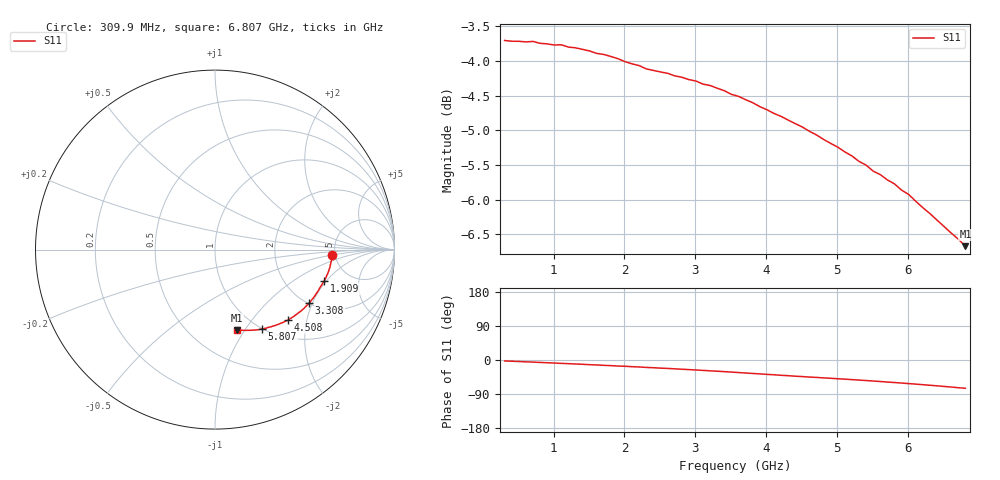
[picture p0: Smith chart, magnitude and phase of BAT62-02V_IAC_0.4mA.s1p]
! Infineon Technologies  Discrete & RF Semiconductors
! BAT62-02V
! IAC = 0.4 mA
! One-Port S-Parameters
# Hz  S  MA  R  50
!f  S11
!Hz  Mag  Ang
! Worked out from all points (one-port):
!   66 points, 309.9 MHz to 6.807 GHz, reference 50 ohm
!   lowest |S11| = -6.7 dB at 6.807 GHz (marker M1), VSWR 2.73, Z = 40.5 - j46.2 ohm
!   |S11| at or under -10 dB: nowhere
!   S11 on the Smith chart (normalised r, x): 309.9 MHz: 4.71, -0.46; 1.909 GHz: 3.26, -1.90; 3.308 GHz: 2.02, -1.89; 4.508 GHz: 1.35, -1.56; 5.807 GHz: 0.99, -1.19; 6.807 GHz: 0.81, -0.92
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3.0985e8  0.6528 -2.5
7.0965e8  0.6517 -5.5
1.10945e9  0.6481 -8.9
1.2094e9  0.6457 -9.6
1.30935e9  0.6449 -10.6
1.4093e9  0.6432 -11.3
1.50925e9  0.6415 -12.4
1.6092e9  0.6389 -13.0
1.70915e9  0.6378 -14.1
1.8091e9  0.6357 -14.9
1.90905e9  0.6333 -16.0
2.009e9  0.6302 -16.5
2.10895e9  0.6279 -17.7
2.2089e9  0.6261 -18.4
2.30885e9  0.6227 -19.6
2.4088e9  0.6211 -20.4
2.8086e9  0.6141 -24.3
3.30835e9  0.603 -29.6
3.6082e9  0.595 -33.2
4.2079e9  0.5756 -40.3
4.4078e9  0.5687 -42.7
4.50775e9  0.5655 -43.7
4.8076e9  0.554 -47.2
5.2074e9  0.5389 -51.8
5.8071e9  0.5146 -59.5
6.007e9  0.5056 -62.3
6.50675e9  0.4794 -69.8
6.8066e9  0.4641 -74.6
